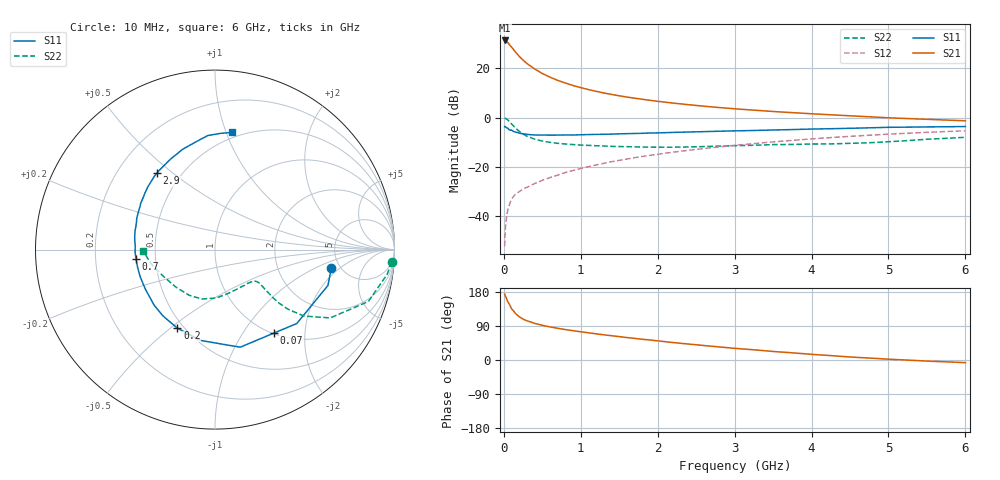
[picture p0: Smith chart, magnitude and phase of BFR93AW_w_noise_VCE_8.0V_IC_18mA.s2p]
! (c) 2017  Infineon Technologies AG, Munich
! Infineon Technologies  Discrete & RF Semiconductors
! BFR93AW
! VCE =  8.0 V,  IC =  18 mA
! Common Emitter S-Parameters:  Jan 2017
# GHz  S  MA  R  50
!  f  S11  S21  S12  S22
! GHz  MAG  ANG  MAG  ANG  MAG  ANG  MAG  ANG
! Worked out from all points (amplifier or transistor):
!   77 points, 10 MHz to 6 GHz, reference 50 ohm
!   highest |S21| = 31.2 dB at 10 MHz (marker M1)
!   |S21| within 3 dB of that: start of sweep to 108.9 MHz
!   unconditionally stable (mu >= 1): 705.9 MHz to 2.049 GHz
!   at 130 MHz: K = 0.41, MSG = 29.6 dB, |S12| = -31.7 dB
!   at 2.2 GHz: K = 0.99, MSG = 9.9 dB, |S12| = -14.0 dB
!   at 6 GHz: K = 0.86, MSG = 2.0 dB, |S12| = -5.3 dB
!   lowest NFmin = 1.47 dB at 450 MHz
!   S11 on the Smith chart (normalised r, x): 10 MHz: 4.26, -1.50; 70 MHz: 1.02, -1.40; 200 MHz: 0.46, -0.53; 700 MHz: 0.39, -0.05; 2.9 GHz: 0.37, +0.44; 6 GHz: 0.45, +1.05
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0.01  0.6559 -8.8  36.46 174.1  0.0025 83.9  0.9861 -4.0
0.02  0.6603 -17.6  36.36 169.0  0.0059 85.2  0.9694 -8.1
0.05  0.6142 -42.1  33.23 154.2  0.0133 71.2  0.9021 -18.7
0.07  0.5696 -54.6  30.3 147.6  0.0169 66.9  0.8356 -23.0
0.1  0.5615 -75.5  26.87 135.3  0.0224 63.0  0.7464 -30.7
0.15  0.5126 -99.0  21.38 122.8  0.0282 57.5  0.6168 -36.8
0.2  0.4853 -115.6  17.39 114.2  0.0318 56.8  0.5267 -39.2
0.25  0.4698 -128.1  14.56 107.9  0.0359 56.6  0.4649 -39.9
0.3  0.4592 -137.6  12.43 103.4  0.0388 56.8  0.4205 -39.7
0.4  0.4462 -150.6  9.636 96.5  0.0463 59.7  0.3665 -38.7
0.5  0.4434 -160.1  7.817 91.5  0.0537 61.8  0.3352 -37.8
0.6  0.4424 -167.2  6.588 87.3  0.0611 63.6  0.3154 -37.3
0.7  0.443 -173.0  5.682 83.7  0.0685 65.0  0.3018 -37.1
0.9  0.445 177.3  4.459 77.3  0.0851 66.7  0.2847 -38.2
1.1  0.4539 170.0  3.698 71.8  0.1018 67.6  0.2743 -40.5
1.5  0.4698 158.1  2.766 61.7  0.1362 67.3  0.2596 -47.8
2.1  0.4959 143.3  2.052 48.3  0.1904 64.6  0.2517 -64.3
2.9  0.5348 127.3  1.554 32.7  0.2646 58.9  0.268 -88.6
3.1  0.5429 123.4  1.471 29.3  0.2837 57.1  0.2725 -94.3
4.1  0.5905 106.4  1.174 13.6  0.3798 47.4  0.2923 -122.9
5.1  0.6384 92.3  0.978 1.2  0.4704 36.4  0.3316 -156.4
6  0.6598 81.6  0.862 -7.0  0.5418 26.0  0.4001 -178.9
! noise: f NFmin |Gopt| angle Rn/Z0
0.45  1.47  0.13  155  0.14
0.9  1.74  0.23  172  0.15
1.9  2.74  0.47  -140  0.22
2.4  3.36  0.54  -127  0.43
